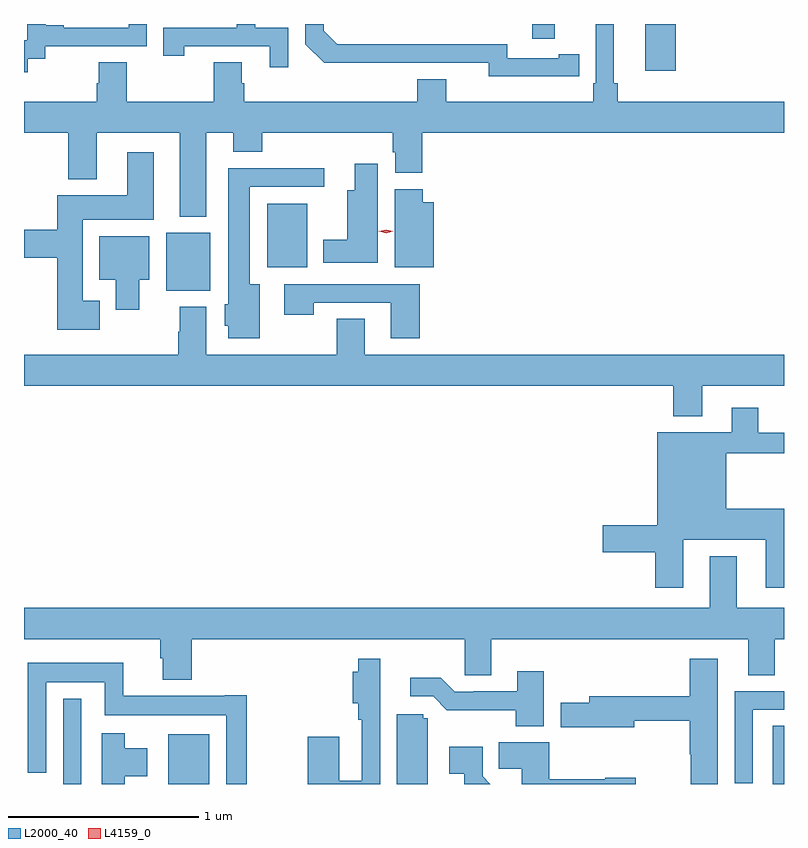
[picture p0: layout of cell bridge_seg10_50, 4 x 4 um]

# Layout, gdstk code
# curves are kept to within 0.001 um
import gdstk
lib = gdstk.Library(unit=1e-6, precision=1e-09)
def R(c, l, rs):  # rectangles x0, y0, x1, y1
    for r in rs: c.add(gdstk.rectangle(r[:2], r[2:], *l))
def P(c, l, *ps):  # polygons
    for p in ps: c.add(gdstk.Polygon(p, *l))
L2000_40 = (2000, 40)
L4159_0 = (4159, 0)

bridge_seg10_50 = lib.new_cell('bridge_seg10_50')
R(bridge_seg10_50, L2000_40, [(866.901,1283.569,866.997,1284.019), (867.455,1283.569,867.67,1283.83), (870.635,1283.569,870.695,1283.876), (867.443,1286.165,867.676,1286.47), (867.974,1286.288,868.186,1286.623), (869.966,1287.324,870.125,1287.569), (869.371,1287.492,869.489,1287.569), (868.362,1287.567,868.513,1287.569)])
P(bridge_seg10_50, L2000_40, [(867.655,1286.996),(867.797,1286.996),(867.797,1286.897),(867.95,1286.897),(867.95,1286.996),(868.637,1286.996),(868.637,1286.895),(868.649,1286.895),(868.649,1286.785),(868.79,1286.785),(868.79,1286.996),(870.695,1286.996),(870.695,1287.16),(869.819,1287.16),(869.819,1287.256),(869.8,1287.256),(869.8,1287.569),(869.703,1287.569),(869.703,1287.256),(869.69,1287.256),(869.69,1287.16),(868.918,1287.16),(868.918,1287.277),(868.766,1287.277),(868.766,1287.16),(867.854,1287.16),(867.854,1287.258),(867.841,1287.258),(867.841,1287.368),(867.694,1287.368),(867.694,1287.16),(867.237,1287.16),(867.237,1287.368),(867.089,1287.368),(867.089,1287.258),(867.077,1287.258),(867.077,1287.16),(866.695,1287.16),(866.695,1286.996),(866.927,1286.996),(866.927,1286.753),(867.079,1286.753),(867.079,1286.996),(867.515,1286.996),(867.515,1286.555),(867.655,1286.555)],
  [(869.51,1287.294),(869.618,1287.294),(869.618,1287.41),(869.51,1287.41),(869.51,1287.39),(869.238,1287.39),(869.238,1287.462),(868.344,1287.462),(868.272,1287.534),(868.272,1287.569),(868.176,1287.569),(868.176,1287.462),(868.274,1287.365),(869.142,1287.366),(869.142,1287.293)],
  [(868.086,1287.549),(867.912,1287.549),(867.912,1287.569),(867.816,1287.569),(867.816,1287.549),(867.427,1287.549),(867.427,1287.402),(867.538,1287.402),(867.538,1287.453),(867.989,1287.453),(867.989,1287.342),(868.086,1287.342)],
  [(866.716,1287.385),(866.808,1287.385),(866.808,1287.453),(867.342,1287.453),(867.342,1287.569),(867.246,1287.569),(867.246,1287.549),(866.905,1287.549),(866.905,1287.562),(866.81,1287.562),(866.81,1287.569),(866.712,1287.569),(866.712,1287.483),(866.695,1287.483),(866.695,1287.315),(866.716,1287.315)],
  [(867.094,1286.113),(867.004,1286.113),(867.004,1286.54),(867.379,1286.54),(867.379,1286.893),(867.239,1286.893),(867.239,1286.668),(866.87,1286.668),(866.87,1286.486),(866.695,1286.486),(866.695,1286.339),(866.87,1286.339),(866.87,1285.961),(867.094,1285.961)],
  [(868.558,1286.833),(868.436,1286.833),(868.436,1286.695),(868.397,1286.695),(868.397,1286.434),(868.271,1286.434),(868.271,1286.312),(868.558,1286.312)],
  [(867.937,1286.2),(867.883,1286.2),(867.883,1286.712),(868.276,1286.712),(868.276,1286.81),(867.77,1286.81),(867.77,1286.094),(867.752,1286.094),(867.752,1285.98),(867.77,1285.98),(867.77,1285.914),(867.937,1285.914)],
  [(868.852,1286.632),(868.793,1286.632),(868.793,1286.7),(868.646,1286.7),(868.646,1286.288),(868.852,1286.288)],
  [(867.301,1286.222),(867.355,1286.222),(867.355,1286.452),(867.092,1286.452),(867.092,1286.222),(867.179,1286.222),(867.179,1286.064),(867.301,1286.064)],
  [(868.778,1286.199),(868.065,1286.199),(868.065,1286.04),(868.221,1286.04),(868.221,1286.103),(868.625,1286.103),(868.625,1285.914),(868.778,1285.914)],
  [(870.265,1285.664),(870.695,1285.664),(870.695,1285.828),(868.489,1285.828),(868.489,1286.018),(868.342,1286.018),(868.342,1285.828),(867.655,1285.828),(867.655,1286.08),(867.515,1286.08),(867.515,1285.949),(867.508,1285.949),(867.508,1285.828),(866.695,1285.828),(866.695,1285.664),(870.113,1285.664),(870.113,1285.505),(870.265,1285.505)],
  [(870.166,1284.854),(870.599,1284.854),(870.599,1284.603),(870.695,1284.603),(870.695,1285.018),(870.391,1285.018),(870.391,1285.311),(870.695,1285.311),(870.695,1285.419),(870.559,1285.419),(870.559,1285.549),(870.419,1285.549),(870.419,1285.42),(870.029,1285.42),(870.029,1284.932),(869.742,1284.932),(869.742,1284.79),(870.017,1284.79),(870.017,1284.603),(870.166,1284.603)],
  [(867.578,1284.332),(869.016,1284.332),(869.016,1284.142),(869.155,1284.142),(869.155,1284.332),(870.506,1284.332),(870.506,1284.142),(870.646,1284.142),(870.646,1284.332),(870.695,1284.332),(870.695,1284.496),(870.445,1284.496),(870.445,1284.769),(870.305,1284.769),(870.305,1284.496),(866.695,1284.496),(866.695,1284.332),(867.413,1284.332),(867.413,1284.231),(867.425,1284.231),(867.425,1284.119),(867.578,1284.119)],
  [(870.346,1284.229),(870.2,1284.229),(870.2,1284.031),(869.669,1284.031),(869.669,1283.997),(869.52,1283.997),(869.52,1283.867),(869.908,1283.867),(869.908,1283.902),(870.2,1283.902),(870.2,1283.725),(870.205,1283.725),(870.205,1283.569),(870.346,1283.569)],
  [(868.569,1284.006),(868.57,1284.006),(868.57,1284.229),(868.453,1284.229),(868.453,1284.16),(868.424,1284.16),(868.424,1283.995),(868.453,1283.995),(868.453,1283.906),(868.473,1283.906),(868.473,1283.587),(868.354,1283.587),(868.354,1283.818),(868.189,1283.818),(868.189,1283.569),(868.569,1283.569)],
  [(867.868,1284.037),(867.752,1284.037),(867.752,1284.034),(867.218,1284.034),(867.218,1284.208),(866.714,1284.208),(866.714,1283.627),(866.811,1283.627),(866.811,1284.104),(867.12,1284.104),(867.12,1283.93),(867.759,1283.93),(867.759,1283.569),(867.868,1283.569)],
  [(869.431,1284.163),(869.291,1284.163),(869.291,1284.057),(869.062,1284.057),(869.062,1284.054),(868.962,1284.054),(868.889,1284.127),(868.728,1284.127),(868.728,1284.03),(868.848,1284.03),(868.921,1283.957),(869.284,1283.958),(869.284,1283.873),(869.431,1283.873)],
  [(870.531,1283.961),(870.695,1283.961),(870.695,1284.057),(870.435,1284.057),(870.435,1283.574),(870.531,1283.574)],
  [(868.819,1283.916),(868.797,1283.916),(868.797,1283.937),(868.658,1283.937),(868.658,1283.569),(868.819,1283.569)],
  [(867.226,1283.611),(867.343,1283.611),(867.343,1283.758),(867.226,1283.758),(867.226,1283.836),(867.104,1283.836),(867.104,1283.569),(867.226,1283.569)],
  [(869.916,1283.602),(869.754,1283.602),(869.754,1283.594),(869.46,1283.594),(869.46,1283.788),(869.194,1283.788),(869.194,1283.65),(869.315,1283.65),(869.315,1283.569),(869.916,1283.569)],
  [(869.109,1283.609),(869.109,1283.764),(868.932,1283.764),(868.932,1283.624),(869.012,1283.624),(869.012,1283.569),(869.149,1283.569)])
P(bridge_seg10_50, L4159_0, [(868.601,1286.467),(868.563,1286.477),(868.562,1286.477),(868.563,1286.477),(868.601,1286.487),(868.639,1286.477),(868.639,1286.477),(868.639,1286.477)])

lib.write_gds('bridge_seg10_50.gds')
